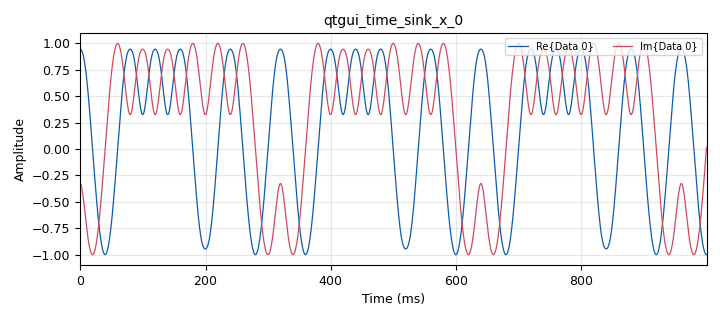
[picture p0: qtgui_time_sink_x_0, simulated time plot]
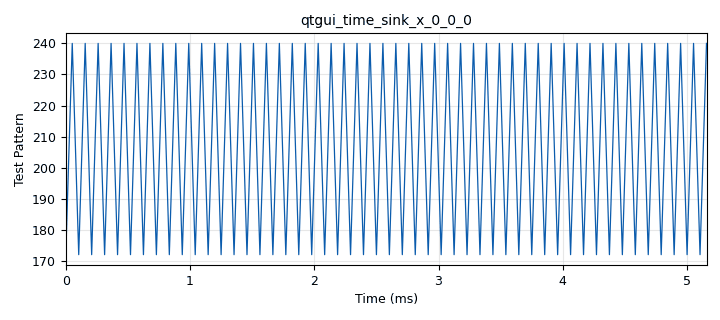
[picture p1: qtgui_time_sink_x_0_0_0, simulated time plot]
options:
  parameters:
    generate_options: qt_gui
    id: endurosat_e2e
    output_language: python
    title: Not titled yet
  states: {}

blocks:
- name: baud_bit
  id: variable
  parameters:
    value: '19200'
  states: {}
- name: baud_byte
  id: variable
  parameters:
    value: baud_bit/8
  states: {}
- name: center_freq
  id: variable_function_probe
  parameters:
    block_id: freq
    function_name: level
    poll_rate: baud_bit
    value: '437814995'
  states: {state: disabled}
- name: center_freq
  id: variable_qtgui_range
  parameters:
    start: '437814995'
    step: '100'
    stop: '437935005'
    value: '437875000'
  states: {}
- name: fsk_dev
  id: variable
  parameters:
    value: '4800'
  states: {}
- name: pi
  id: variable
  parameters:
    value: '3.14159265359'
  states: {}
- name: rx_gain
  id: variable
  parameters:
    value: '40'
  states: {}
- name: samp_rate
  id: variable
  parameters:
    value: baud_bit
  states: {}
- name: sensitivity
  id: variable
  parameters:
    value: 2*3.14159*(fsk_dev/(baud_bit*spsym))
  states: {}
- name: spsym
  id: variable
  parameters:
    value: '100'
  states: {}
- name: tx_gain
  id: variable
  parameters:
    value: '1'
  states: {}
- name: usrp_samp_rate
  id: variable
  parameters:
    value: spsym*baud_bit
  states: {}
- name: analog_noise_source_x_0
  id: analog_noise_source_x
  parameters:
    amp: '1'
    noise_type: analog.GR_GAUSSIAN
    seed: '0'
    type: complex
  states: {state: disabled}
- name: analog_pll_carriertracking_cc_0
  id: analog_pll_carriertracking_cc
  parameters:
    max_freq: 2*pi*(60000)/usrp_samp_rate
    min_freq: '-2*pi*(60000)/usrp_samp_rate'
    w: pi/100
  states: {state: bypassed}
- name: analog_pll_freqdet_cf_0
  id: analog_pll_freqdet_cf
  parameters:
    max_freq: 2*pi*(437935005)/usrp_samp_rate
    min_freq: 2*pi*(437814995)/usrp_samp_rate
    w: pi/100
  states: {state: disabled}
- name: analog_sig_source_x_0
  id: analog_sig_source_x
  parameters:
    amp: '120010'
    freq: '0.0027775'
    offset: '437814995'
    phase: '0'
    samp_rate: baud_bit
    type: float
    waveform: analog.GR_TRI_WAVE
  states: {state: disabled}
- name: analog_simple_squelch_cc_0
  id: analog_simple_squelch_cc
  parameters:
    alpha: '1'
    threshold: '-40'
  states: {}
- name: blocks_add_xx_0
  id: blocks_add_xx
  parameters:
    type: float
  states: {state: disabled}
- name: blocks_pdu_to_tagged_stream_0
  id: blocks_pdu_to_tagged_stream
  parameters:
    tag: packet_len
    type: byte
  states: {state: disabled}
- name: blocks_socket_pdu_0
  id: blocks_socket_pdu
  parameters:
    host: 127.0.0.1
    mtu: '10000'
    port: '4321'
    tcp_no_delay: 'False'
    type: TCP_SERVER
  states: {state: disabled}
- name: blocks_socket_pdu_1
  id: blocks_socket_pdu
  parameters:
    host: 127.0.0.1
    mtu: '10000'
    port: '1234'
    tcp_no_delay: 'False'
    type: TCP_SERVER
  states: {state: disabled}
- name: blocks_uchar_to_float_0
  id: blocks_uchar_to_float
  parameters: {}
  states: {}
- name: blocks_uchar_to_float_0_0
  id: blocks_uchar_to_float
  parameters: {}
  states: {}
- name: blocks_unpacked_to_packed_xx_0
  id: blocks_unpacked_to_packed_xx
  parameters:
    bits_per_chunk: '8'
    endianness: gr.GR_MSB_FIRST
    type: byte
  states: {state: disabled}
- name: blocks_vector_source_x_0_0_0
  id: blocks_vector_source_x
  parameters:
    repeat: 'True'
    type: byte
    vector: (172, 240)
  states: {}
- name: blocks_vector_source_x_0_0_1
  id: blocks_vector_source_x
  parameters:
    repeat: 'True'
    type: byte
    vector: (172, 240)
  states: {}
- name: digital_gfsk_demod_0
  id: digital_gfsk_demod
  parameters:
    freq_error: '0.0'
    gain_mu: '0.175'
    mu: '0.5'
    omega_relative_limit: '0.005'
    samples_per_symbol: spsym
    sensitivity: sensitivity
  states: {}
- name: digital_gfsk_mod_0
  id: digital_gfsk_mod
  parameters:
    bt: '0.5'
    samples_per_symbol: spsym
    sensitivity: sensitivity
  states: {}
- name: epy_block_0
  id: epy_block
  parameters:
    _source_code: "#!/usr/bin/env python\n'''\n   Copyright 2015 Wolfgang Nagele\n\n   Licensed under the Apache License, Version 2.0 (the \"License\");\n   you may not use this file except in compliance with the License.\n   You may obtain a copy of the License at\n\n       http://www.apache.org/licenses/LICENSE-2.0\n\n   Unless required by applicable law or agreed to in writing, software\n   distributed under the License is distributed on an \"AS IS\" BASIS,\n   WITHOUT WARRANTIES OR CONDITIONS OF ANY KIND, either express or implied.\n   See the License for the specific language governing permissions and\n   limitations under the License.\n'''\nfrom gnuradio import gr\nimport threading\nimport time\nimport socket\n\n\nclass doppler_runner(threading.Thread):\n  def __init__(self, callback=None, freq=None, gpredict_host=None, gpredict_port=None):\n    threading.Thread.__init__(self)\n\n    self.callback = callback\n    self.gpredict_host = gpredict_host\n    self.gpredict_port = gpredict_port\n    self.freq = freq\n\n\n  def run(self):\n    #bind_to = (self.gpredict_host, self.gpredict_port)\n    bind_to = ('127.0.0.1', 4532)\n    server = socket.socket(socket.AF_INET, socket.SOCK_STREAM)\n    print(bind_to)\n    server.bind(bind_to)\n    server.listen(0)\n\n    time.sleep(0.5) # TODO: Find better way to know if init is all done\n\n    while True:\n      print(\"Waiting for connection on: %s:%d\" % bind_to)\n      sock, addr = server.accept()\n      print(\"Connected from: %s:%d\" % (addr[0], addr[1]))\n\n      cur_freq = 0\n      while True:\n        data = sock.recv(1024)\n        if not data:\n          break\n\n        if data.startswith(b'F'):\n          self.freq = int(data[1:].strip())\n          if cur_freq != self.freq:\n            print(\"New frequency: %d\" % self.freq)\n            self.callback(self.freq)\n            cur_freq = self.freq\n          sock.sendall(b'RPRT 0\\n')\n        elif data.startswith(b'f'):\n          sock.sendall(b'f: %d\\n' % cur_freq)\n\n      sock.close()\n      print(\"Disconnected from: %s:%d\" % (addr[0], addr[1]))\n\n    #sys.exit()\n\nclass doppler(gr.sync_block):\n  def __init__(self, callback=None, freq=None, gpredict_host=None, gpredict_port=None):\n    gr.sync_block.__init__(self,\n                           name = \"Gpredict Doppler\",\n                           in_sig = None,\n                           out_sig = None)\n    doppler_runner(callback, freq, gpredict_host, gpredict_port).start()\n\n"
    callback: ''
    freq: ''
    gpredict_host: ''
    gpredict_port: ''
  states: {}
- name: freq
  id: blocks_probe_signal_x
  parameters:
    type: float
  states: {state: disabled}
- name: qtgui_freq_sink_x_0
  id: qtgui_freq_sink_x
  parameters:
    bw: 2*baud_bit*spsym
    fc: center_freq
    fftsize: 10*1024
    nconnections: '2'
    type: complex
  states: {}
- name: qtgui_time_sink_x_0
  id: qtgui_time_sink_x
  parameters:
    autoscale: 'True'
    size: spsym*50
    srate: spsym*50
    type: complex
    update_time: '1'
    ymax: '0.1'
    ymin: '-0.1'
  states: {}
- name: qtgui_time_sink_x_0_0
  id: qtgui_time_sink_x
  parameters:
    autoscale: 'True'
    entags: 'False'
    size: int(100)
    srate: baud_bit
    type: float
    update_time: '0.5'
    ylabel: Bitstream
    ymax: '1.5'
    ymin: '-0.5'
  states: {}
- name: qtgui_time_sink_x_0_0_0
  id: qtgui_time_sink_x
  parameters:
    autoscale: 'True'
    entags: 'False'
    size: int(100)
    srate: samp_rate
    type: float
    update_time: '0.5'
    ylabel: Test Pattern
    ymax: '1.5'
    ymin: '-0.5'
  states: {}
- name: qtgui_time_sink_x_1
  id: qtgui_time_sink_x
  parameters:
    size: '1000'
    srate: '256000'
    type: complex
    update_time: '2'
    ylabel: Before mix
    ymax: '-1'
    ymin: '1'
  states: {}
- name: qtgui_time_sink_x_1_1
  id: qtgui_time_sink_x
  parameters:
    size: '1000'
    srate: '256000'
    type: complex
    update_time: '2'
    ylabel: Before PLL
    ymax: '-1'
    ymin: '1'
  states: {}
- name: qtgui_time_sink_x_2
  id: qtgui_time_sink_x
  parameters:
    autoscale: 'True'
    size: '1024'
    srate: baud_bit
    type: float
  states: {state: disabled}
- name: satellites_rms_agc_0
  id: satellites_rms_agc
  parameters:
    alpha: '1e-2'
    reference: '1.0'
  states: {}
- name: satellites_sync_to_pdu_packed_0_0
  id: satellites_sync_to_pdu_packed
  parameters:
    packlen: '129'
    sync: '''01111110'''
    threshold: '0'
  states: {state: disabled}
- name: uhd_usrp_sink_0
  id: uhd_usrp_sink
  parameters:
    ant0: TX/RX
    center_freq0: center_freq
    dev_args: '""'
    gain0: tx_gain
    gain_type0: normalized
    len_tag_name: ''
    samp_rate: usrp_samp_rate
    sync: pc_clock
    type: fc32
  states: {}
- name: uhd_usrp_source_0_0
  id: uhd_usrp_source
  parameters:
    ant0: RX2
    center_freq0: '437875000'
    dev_args: '""'
    gain0: rx_gain
    rx_agc0: Disabled
    samp_rate: usrp_samp_rate
    sync: pc_clock
    type: fc32
  states: {}

connections:
- [analog_noise_source_x_0, '0', blocks_add_xx_0, '1']
- [analog_pll_carriertracking_cc_0, '0', digital_gfsk_demod_0, '0']
- [analog_pll_carriertracking_cc_0, '0', qtgui_freq_sink_x_0, '1']
- [analog_pll_carriertracking_cc_0, '0', qtgui_time_sink_x_1, '0']
- [analog_sig_source_x_0, '0', freq, '0']
- [analog_sig_source_x_0, '0', qtgui_time_sink_x_2, '0']
- [analog_simple_squelch_cc_0, '0', satellites_rms_agc_0, '0']
- [blocks_add_xx_0, '0', uhd_usrp_sink_0, '0']
- [blocks_pdu_to_tagged_stream_0, '0', blocks_unpacked_to_packed_xx_0, '0']
- [blocks_socket_pdu_1, pdus, blocks_pdu_to_tagged_stream_0, pdus]
- [blocks_uchar_to_float_0, '0', qtgui_time_sink_x_0_0_0, '0']
- [blocks_uchar_to_float_0_0, '0', qtgui_time_sink_x_0_0, '0']
- [blocks_unpacked_to_packed_xx_0, '0', digital_gfsk_mod_0, '0']
- [blocks_vector_source_x_0_0_0, '0', blocks_uchar_to_float_0, '0']
- [blocks_vector_source_x_0_0_1, '0', digital_gfsk_mod_0, '0']
- [digital_gfsk_demod_0, '0', blocks_uchar_to_float_0_0, '0']
- [digital_gfsk_demod_0, '0', satellites_sync_to_pdu_packed_0_0, '0']
- [digital_gfsk_mod_0, '0', blocks_add_xx_0, '0']
- [digital_gfsk_mod_0, '0', qtgui_time_sink_x_0, '0']
- [digital_gfsk_mod_0, '0', uhd_usrp_sink_0, '0']
- [satellites_rms_agc_0, '0', analog_pll_carriertracking_cc_0, '0']
- [satellites_rms_agc_0, '0', qtgui_freq_sink_x_0, '0']
- [satellites_rms_agc_0, '0', qtgui_time_sink_x_1_1, '0']
- [satellites_sync_to_pdu_packed_0_0, out, blocks_socket_pdu_0, pdus]
- [uhd_usrp_source_0_0, '0', analog_simple_squelch_cc_0, '0']

metadata:
  file_format: 1
